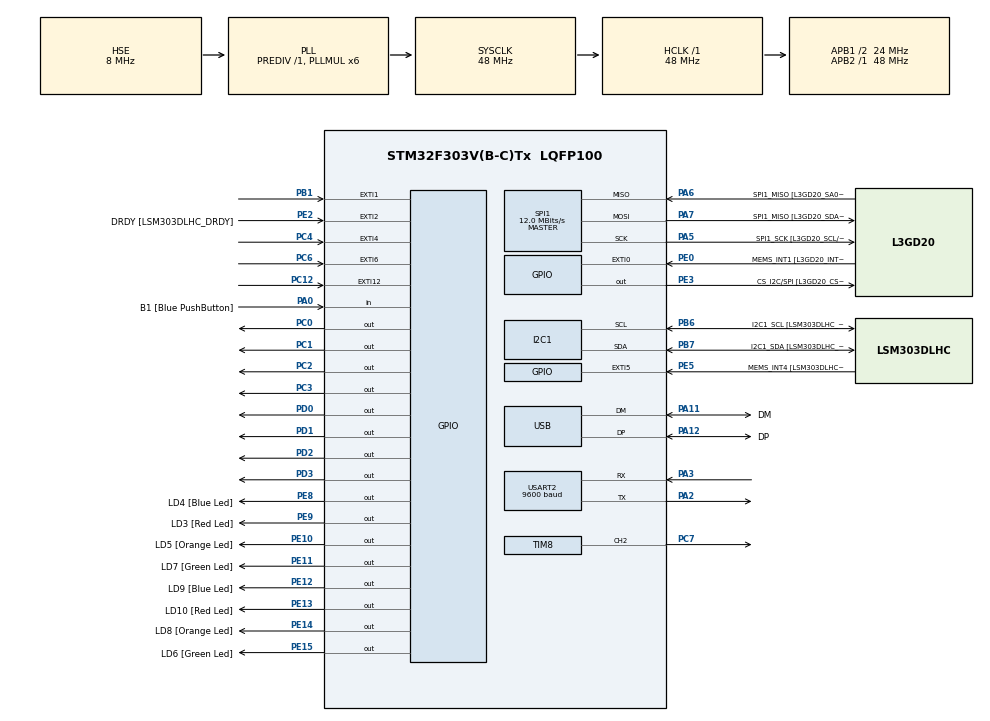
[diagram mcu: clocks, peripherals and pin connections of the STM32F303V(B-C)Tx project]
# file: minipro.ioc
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I2C1.Timing=0x2000090E
I2C1.Timing-I2C=0x2000090E
Mcu.Family=STM32F3
Mcu.Name=STM32F303V(B-C)Tx
Mcu.Package=LQFP100
NVIC.EXTI15_10_IRQn=true\:1\:0\:true\:false\:true\:true\:true
NVIC.EXTI1_IRQn=true\:1\:0\:true\:false\:true\:true\:true
NVIC.EXTI4_IRQn=true\:1\:0\:true\:false\:true\:true\:true
NVIC.EXTI9_5_IRQn=true\:1\:0\:true\:false\:true\:true\:true
NVIC.PriorityGroup=NVIC_PRIORITYGROUP_1
NVIC.TIM2_IRQn=true\:1\:0\:true\:false\:true\:true\:true
NVIC.TIM3_IRQn=true\:1\:0\:true\:false\:true\:true\:true
NVIC.TIM4_IRQn=true\:1\:0\:true\:false\:true\:true\:true
NVIC.USART2_IRQn=true\:1\:0\:true\:false\:true\:true\:true
PA0.GPIO_Label=B1 [Blue PushButton]
PA0.Signal=GPIO_Input
PA11.GPIO_Label=DM
PA11.Mode=Device
PA11.Signal=USB_DM
PA12.GPIO_Label=DP
PA12.Mode=Device
PA12.Signal=USB_DP
PA13.GPIO_Label=SWDIO
PA13.Mode=Serial_Wire
PA13.Signal=SYS_JTMS-SWDIO
PA14.GPIO_Label=SWCLK
PA14.Mode=Serial_Wire
PA14.Signal=SYS_JTCK-SWCLK
PA2.Mode=Asynchronous
PA2.Signal=USART2_TX
PA3.Mode=Asynchronous
PA3.Signal=USART2_RX
PA5.GPIO_Label=SPI1_SCK [L3GD20_SCL/SPC]
PA5.Mode=Full_Duplex_Master
PA5.Signal=SPI1_SCK
PA6.GPIO_Label=SPI1_MISO [L3GD20_SA0/SDO]
PA6.Mode=Full_Duplex_Master
PA6.Signal=SPI1_MISO
PA7.GPIO_Label=SPI1_MISO [L3GD20_SDA/SDI/SDO]
PA7.Mode=Full_Duplex_Master
PA7.Signal=SPI1_MOSI
PB1.GPIO_PuPd=GPIO_PULLDOWN
PB1.Signal=GPXTI1
PB3.GPIO_Label=SWO
PB3.Signal=SYS_JTDO-TRACESWO
PB6.GPIO_Label=I2C1_SCL [LSM303DLHC_SCL]
PB6.GPIO_Pu=GPIO_PULLUP
PB6.Mode=I2C
PB6.Signal=I2C1_SCL
PB7.GPIO_Label=I2C1_SDA [LSM303DLHC_SDA]
PB7.GPIO_Pu=GPIO_PULLUP
PB7.Mode=I2C
PB7.Signal=I2C1_SDA
PC0.Signal=GPIO_Output
PC1.Signal=GPIO_Output
PC12.GPIO_PuPd=GPIO_PULLDOWN
PC12.Signal=GPXTI12
PC14-OSC32_IN.GPIO_Label=OSC32_IN
PC14-OSC32_IN.Signal=RCC_OSC32_IN
PC15-OSC32_OUT.GPIO_Label=OSC32_OUT
PC15-OSC32_OUT.Signal=RCC_OSC32_OUT
PC2.Signal=GPIO_Output
PC3.Signal=GPIO_Output
PC4.GPIO_PuPd=GPIO_PULLDOWN
PC4.Signal=GPXTI4
PC6.GPIO_PuPd=GPIO_PULLDOWN
PC6.Signal=GPXTI6
PC7.Signal=S_TIM8_CH2
PD0.Signal=GPIO_Output
PD1.Signal=GPIO_Output
PD2.Signal=GPIO_Output
PD3.Signal=GPIO_Output
PE0.GPIO_Label=MEMS_INT1 [L3GD20_INT1]
PE0.GPIO_ModeDefaultEXTI=GPIO_MODE_EVT_RISING
PE0.Signal=GPXTI0
PE10.GPIO_Label=LD5 [Orange Led]
PE10.Signal=GPIO_Output
PE11.GPIO_Label=LD7 [Green Led]
PE11.Signal=GPIO_Output
PE12.GPIO_Label=LD9 [Blue Led]
PE12.Signal=GPIO_Output
PE13.GPIO_Label=LD10 [Red Led]
PE13.Signal=GPIO_Output
PE14.GPIO_Label=LD8 [Orange Led]
PE14.Signal=GPIO_Output
PE15.GPIO_Label=LD6 [Green Led]
PE15.Signal=GPIO_Output
PE2.GPIO_Label=DRDY [LSM303DLHC_DRDY]
PE2.GPIO_ModeDefaultEXTI=GPIO_MODE_EVT_RISING
PE2.Signal=GPXTI2
PE3.GPIO_Label=CS_I2C/SPI [L3GD20_CS_I2C/SPI]
PE3.Signal=GPIO_Output
PE5.GPIO_Label=MEMS_INT4 [LSM303DLHC_INT2]
PE5.GPIO_ModeDefaultEXTI=GPIO_MODE_EVT_RISING
PE5.Signal=GPXTI5
PE8.GPIO_Label=LD4 [Blue Led]
PE8.Signal=GPIO_Output
PE9.GPIO_Label=LD3 [Red Led]
PE9.Signal=GPIO_Output
PF0-OSC_IN.GPIO_Label=OSC_IN
PF0-OSC_IN.Mode=HSE-External-Clock-Source
PF0-OSC_IN.Signal=RCC_OSC_IN
PF1-OSC_OUT.GPIO_Label=OSC_OUT
PF1-OSC_OUT.Signal=RCC_OSC_OUT
ProjectManager.HeapSize=0x200
ProjectManager.StackSize=0x400
ProjectManager.TargetToolchain=STM32CubeIDE
RCC.AHBFreq_Value=48000000
RCC.APB1CLKDivider=RCC_HCLK_DIV2
RCC.APB1Freq_Value=24000000
RCC.APB1TimFreq_Value=48000000
RCC.APB2Freq_Value=48000000
RCC.APB2TimFreq_Value=48000000
RCC.CortexFreq_Value=48000000
RCC.HCLKFreq_Value=48000000
RCC.HSE_VALUE=8000000
RCC.HSI_VALUE=8000000
RCC.LSE_VALUE=32768
RCC.PLLMUL=RCC_PLL_MUL6
RCC.SYSCLKFreq_VALUE=48000000
RCC.SYSCLKSourceVirtual=RCC_SYSCLKSOURCE_PLLCLK
RCC.USBFreq_Value=48000000
SH.S_TIM8_CH2.0=TIM8_CH2,PWM Generation2 CH2
SPI1.BaudRatePrescaler=SPI_BAUDRATEPRESCALER_4
SPI1.BaudRatePrescaler-Full_Duplex_Master=SPI_BAUDRATEPRESCALER_2
SPI1.CalculateBaudRate=12.0 MBits/s
SPI1.CalculateBaudRate-Full_Duplex_Master=24.0 MBits/s
SPI1.Direction=SPI_DIRECTION_2LINES
SPI1.Mode=SPI_MODE_MASTER
SPI1.Mode-Full_Duplex_Master=SPI_MODE_MASTER
SPI1.VirtualType=VM_MASTER
TIM2.Period=10000
TIM2.Prescaler=1199
TIM3.Period=1000
TIM3.Prescaler=15
TIM4.Period=10000
TIM4.Prescaler=4799
TIM8.Channel-PWM\ Generation2\ CH2=TIM_CHANNEL_2
USART2.BaudRate=9600
USART2.VirtualMode-Asynchronous=VM_ASYNC
VP_TIM2_VS_ClockSourceINT.Mode=Internal
VP_TIM3_VS_ClockSourceINT.Mode=Internal
VP_TIM4_VS_ClockSourceINT.Mode=Internal
VP_TIM8_VS_ClockSourceINT.Mode=Internal
board=STM32F3DISCOVERY

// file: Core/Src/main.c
/* USER CODE BEGIN Header */
/**
  ******************************************************************************
  * @file           : main.c
  * @brief          : Main program body
  ******************************************************************************
  * @attention
  *
  * <h2><center>&copy; Copyright (c) 2022 STMicroelectronics.
  * All rights reserved.</center></h2>
  *
  * This software component is licensed by ST under BSD 3-Clause license,
  * the "License"; You may not use this file except in compliance with the
  * License. You may obtain a copy of the License at:
  *                        opensource.org/licenses/BSD-3-Clause
  *
  ******************************************************************************
  */
/* USER CODE END Header */
#include "main.h"

/* USER CODE BEGIN Includes */
#include "String.h"
#include <stdio.h>
/* USER CODE END Includes */

/* USER CODE BEGIN PD */
#define SIZE 10
/* USER CODE END PD */

I2C_HandleTypeDef hi2c1;

SPI_HandleTypeDef hspi1;

TIM_HandleTypeDef htim2;
TIM_HandleTypeDef htim3;
TIM_HandleTypeDef htim4;
TIM_HandleTypeDef htim8;

UART_HandleTypeDef huart2;

PCD_HandleTypeDef hpcd_USB_FS;

void SystemClock_Config(void);
static void MX_GPIO_Init(void);
static void MX_I2C1_Init(void);
static void MX_SPI1_Init(void);
static void MX_USB_PCD_Init(void);
static void MX_TIM3_Init(void);
static void MX_TIM4_Init(void);
static void MX_TIM8_Init(void);
static void MX_TIM2_Init(void);
static void MX_USART2_UART_Init(void);

/* USER CODE BEGIN 0 */

int x1=0,x4=0;

int sevenseg_counter = 0;
int uart_counter = 0;
unsigned char counter[1];
char counter1[50];
char counter2[3];
int counter_flag = 0 , sw1 = 0 , isEmpty = 1 ;
int last_interrupt1=0;
char hello[7] = "hello \n";
int delay = 0;
int buzzer_flag = 0;

int max_floor = 9;
int current_floor = 0;
int selected_floor = 0;
int goto_floor = 0;
int last_floor = 0;

int items[SIZE], front = -1, rear = -1;

unsigned char data[20];

char admin_cmd[] = "ADMIN#";
char pass[] = "1234";
int admin_mode = 0;

char max_level_cmd[] = "SET MAX LEVEL";
char level_cmd[] = "SET LEVEL";
char wait_cmd[] = "SET WAIT";
char led_cmd[] = "SET LED";
char start_cmd[] = "START";
char test_cmd[]= "TEST#";

int led_condition = 0;

char message[50] = "";

int waiting_time = 500;

TIM_HandleTypeDef *pwm_timer = &htim8; // Point to PWM timer configured in CubeMX
uint32_t pwm_channel = TIM_CHANNEL_2;  // Specify configured PWM channel

void write_num_toBCD(int a) {
	if (a & 1) {
		HAL_GPIO_WritePin(GPIOD, GPIO_PIN_0, GPIO_PIN_SET);
	} else {
		HAL_GPIO_WritePin(GPIOD, GPIO_PIN_0, GPIO_PIN_RESET);
	}
	if (a & 2) {
		HAL_GPIO_WritePin(GPIOD, GPIO_PIN_1, GPIO_PIN_SET);
	} else {
		HAL_GPIO_WritePin(GPIOD, GPIO_PIN_1, GPIO_PIN_RESET);
	}
	if (a & 4) {
		HAL_GPIO_WritePin(GPIOD, GPIO_PIN_2, GPIO_PIN_SET);
	} else {
		HAL_GPIO_WritePin(GPIOD, GPIO_PIN_2, GPIO_PIN_RESET);
	}
	if (a & 8) {
		HAL_GPIO_WritePin(GPIOD, GPIO_PIN_3, GPIO_PIN_SET);
	} else {
		HAL_GPIO_WritePin(GPIOD, GPIO_PIN_3, GPIO_PIN_RESET);
	}
}

void turn_off_all() {
	HAL_GPIO_WritePin(GPIOC, GPIO_PIN_0 | GPIO_PIN_1 | GPIO_PIN_2 | GPIO_PIN_3,
			0);

}

void turn_on_led(){
	HAL_GPIO_WritePin(GPIOE, GPIO_PIN_8 , 1);
	HAL_GPIO_WritePin(GPIOE, GPIO_PIN_9 , 1);
	HAL_GPIO_WritePin(GPIOE, GPIO_PIN_10 , 1);
	HAL_GPIO_WritePin(GPIOE, GPIO_PIN_11 , 1);
	HAL_GPIO_WritePin(GPIOE, GPIO_PIN_12 , 1);
	HAL_GPIO_WritePin(GPIOE, GPIO_PIN_13 , 1);
	HAL_GPIO_WritePin(GPIOE, GPIO_PIN_14 , 1);
	HAL_GPIO_WritePin(GPIOE, GPIO_PIN_15 , 1);
}

void turn_off_led(){
	HAL_GPIO_WritePin(GPIOE, GPIO_PIN_8 , 0);
	HAL_GPIO_WritePin(GPIOE, GPIO_PIN_9 , 0);
	HAL_GPIO_WritePin(GPIOE, GPIO_PIN_10 , 0);
	HAL_GPIO_WritePin(GPIOE, GPIO_PIN_11 , 0);
	HAL_GPIO_WritePin(GPIOE, GPIO_PIN_12 , 0);
	HAL_GPIO_WritePin(GPIOE, GPIO_PIN_13 , 0);
	HAL_GPIO_WritePin(GPIOE, GPIO_PIN_14 , 0);
	HAL_GPIO_WritePin(GPIOE, GPIO_PIN_15 , 0);
}

/////////////////////////// queue ///////////////////////

void enQueue(int value) {
  if (rear == SIZE - 1)
    printf("\nQueue is Full!!");
  else {
    if (front == -1)
      front = 0;
    rear++;
    items[rear] = value;
    isEmpty = 0;
  }
}

void deQueue() {
  if (front == -1){
	isEmpty = 1;
  }
  else {
    goto_floor = items[front];
    front++;
    if (front > rear){
      front = rear = -1;
    }
  }
}

void peek() {
  if (front == -1){
	isEmpty = 1;
  }
  else {
    last_floor = items[rear];
  }
}

/////////////////////////////// buzzer /////////////////////////////////////////////////

void PWM_Start()
{
  HAL_TIM_PWM_Start(pwm_timer, pwm_channel);
}

void PWM_Change_Tone(uint16_t pwm_freq, uint16_t volume) // pwm_freq (1 - 20000), volume (0 - 1000)
{
  if (pwm_freq == 0 || pwm_freq > 20000)
  {
    __HAL_TIM_SET_COMPARE(pwm_timer, pwm_channel, 0);
  }
  else
  {
    const uint32_t internal_clock_freq = HAL_RCC_GetSysClockFreq();
	const uint16_t prescaler = 1 + internal_clock_freq / pwm_freq / 60000;
    const uint32_t timer_clock = internal_clock_freq / prescaler;
    const uint32_t period_cycles = timer_clock / pwm_freq;
    const uint32_t pulse_width = volume * period_cycles / 1000 / 2;

    pwm_timer->Instance->PSC = prescaler - 1;
    pwm_timer->Instance->ARR = period_cycles - 1;
    pwm_timer->Instance->EGR = TIM_EGR_UG;
    __HAL_TIM_SET_COMPARE(pwm_timer, pwm_channel, pulse_width); // pwm_timer->Instance->CCR2 = pulse_width;
  }
}

////////////////////////////////////////////////
void HAL_GPIO_EXTI_Callback(uint16_t GPIO_Pin){

		if (GPIO_Pin == GPIO_PIN_4 && last_interrupt1 + 200 < HAL_GetTick()){
			last_interrupt1 = HAL_GetTick();

			if (selected_floor  < max_floor) {
				selected_floor++;
			}

		}
		else if (GPIO_Pin == GPIO_PIN_6 && last_interrupt1 + 200 < HAL_GetTick()){
			last_interrupt1 = HAL_GetTick();

			if (selected_floor  > 0) {
				selected_floor --;
			}

		}
		else if (GPIO_Pin == GPIO_PIN_12 && last_interrupt1 + 200 < HAL_GetTick()){
			last_interrupt1 = HAL_GetTick();
			peek();
			if(last_floor != selected_floor && selected_floor != current_floor){
			enQueue(selected_floor);
			HAL_GPIO_TogglePin(GPIOE, GPIO_PIN_9);
			}

		}
		else if (GPIO_Pin == GPIO_PIN_1 && last_interrupt1 + 200 < HAL_GetTick()){
			last_interrupt1 = HAL_GetTick();
			HAL_GPIO_TogglePin(GPIOE, GPIO_PIN_8);
			PWM_Start();
			sw1 = 1;
			if(led_condition){
				turn_on_led();
			}
			else{
				turn_off_led();
			}
		}

	}

////////////////////////////////////////////////////////////////

void HAL_TIM_PeriodElapsedCallback(TIM_HandleTypeDef *htim)
{
    if (htim->Instance == TIM3)
    {
    	switch (delay%4) {
			case 0:
				turn_off_all();
				HAL_GPIO_WritePin(GPIOC, GPIO_PIN_0, 1);
				write_num_toBCD(selected_floor);
				break;
			case 1:
				turn_off_all();
				HAL_GPIO_WritePin(GPIOC, GPIO_PIN_1, 0);
				write_num_toBCD(0);
				break;
			case 2:
				turn_off_all();
				HAL_GPIO_WritePin(GPIOC, GPIO_PIN_2, 0);
				write_num_toBCD(0);
				break;
			case 3:
				turn_off_all();
				HAL_GPIO_WritePin(GPIOC, GPIO_PIN_3, 1);
				write_num_toBCD(current_floor);
				break;

		}
				delay++;

    }

    if (htim->Instance == TIM4)
    {

    	if (goto_floor == current_floor && !isEmpty && !admin_mode ){
    		HAL_GPIO_TogglePin(GPIOE, GPIO_PIN_10);
    		HAL_Delay(waiting_time);
    		deQueue();
    		counter_flag = 1;
    	}

    	if(isEmpty){
    		counter_flag = 0;
    	}

    	if (counter_flag){
//    		deQueue();

    		if(goto_floor > current_floor ){
    			current_floor++;
    		}
    		else if(goto_floor < current_floor){
    			current_floor--;
    		}

    	}

    }

    if (htim->Instance == TIM2)
        {
    	if(sw1){
    		if(buzzer_flag % 2 == 0){
    			PWM_Change_Tone(300, 50);
    		}else{
    			PWM_Change_Tone(300, 0);
    		}
    		buzzer_flag++;
    	}
       }
}

/////////////////////////////////////////////////////////////////////////////////////////
void set_max_level(int max){
	if(max > 9){
		char incorrect_pass_msg[41] = "\nNumber of levels should be less than 10\n" ;
		HAL_UART_Transmit(&huart2, &incorrect_pass_msg, sizeof(incorrect_pass_msg),1000);
	}else{
		max_floor = max;
	}
	current_floor = 0;
}

void set_level(int level){
	if(level >= 0 && level <= max_floor){
		current_floor = level;
		goto_floor = level;
	} else{
		if(level < 0){
			char incorrect_pass_msg[44] = "\nNumber of current level should be positive\n" ;
			HAL_UART_Transmit(&huart2, &incorrect_pass_msg, sizeof(incorrect_pass_msg),1000);
		} else{
			char incorrect_pass_msg[68] = "\nNumber of current level should be less than total number of levels\n" ;
			HAL_UART_Transmit(&huart2, &incorrect_pass_msg, sizeof(incorrect_pass_msg),1000);
		}
	}
}

void set_led(char condition[]){
	char on[] = "ON";
	char off[] = "OFF";
	if(strstr(condition , on)){
		led_condition = 1;
		HAL_GPIO_TogglePin(GPIOE, GPIO_PIN_9);
	}
	else if (strstr(condition , off)){
		led_condition = 0;
		HAL_GPIO_TogglePin(GPIOE, GPIO_PIN_10);
	}
	else{
		char incorrect_pass_msg[16] = "\nwrong command!\n" ;
		HAL_UART_Transmit(&huart2, &incorrect_pass_msg, sizeof(incorrect_pass_msg),1000);
	}
}

void set_wait(int wait){
	if (wait >= 500 && wait <= 5000 && (wait % 100 == 0)){
		waiting_time = wait;
	} else{
		if(wait % 100 != 0){
			char incorrect_pass_msg[41] = "\nWaiting time should be dividable by 100\n" ;
			HAL_UART_Transmit(&huart2, &incorrect_pass_msg, sizeof(incorrect_pass_msg),1000);
		} else if (wait < 500){
			char incorrect_pass_msg[38] = "\nWaiting time should be more than 500\n" ;
			HAL_UART_Transmit(&huart2, &incorrect_pass_msg, sizeof(incorrect_pass_msg),1000);
		} else if(wait > 5000){
			char incorrect_pass_msg[39] = "\nWaiting time should be less than 5000\n" ;
			HAL_UART_Transmit(&huart2, &incorrect_pass_msg, sizeof(incorrect_pass_msg),1000);
		}
	}
}

char y[5];
int r = 5 , i = 8 , j = 0;
int num = 0;
int numbers[4];
int count = 0;

void HAL_UART_RxCpltCallback(UART_HandleTypeDef *huart){

		if(huart->Instance == USART2){
			if(strstr(data , admin_cmd) && isEmpty){
				  HAL_UART_Transmit(&huart2, hello, sizeof(hello) , 1000);
				if(data[6] == pass[0] && data[7] == pass[1] && data[8] == pass[2] && data[9] == pass[3]){
					  HAL_UART_Transmit(&huart2, hello, sizeof(hello) , 1000);
					  HAL_GPIO_TogglePin(GPIOE, GPIO_PIN_8);
					  admin_mode = 1;
				}
				else{
					char incorrect_pass_msg[24] = "\nPassword is Incorrect!\n" ;
					HAL_UART_Transmit(&huart2, &incorrect_pass_msg, sizeof(incorrect_pass_msg),1000);
				}
			}

			if(admin_mode){
				if(strstr(data , max_level_cmd)){
					HAL_GPIO_TogglePin(GPIOE, GPIO_PIN_10);
					set_max_level(data[13]-48);
					char x = max_floor + 48;
					HAL_UART_Transmit(&huart2, &x, sizeof(x) , 1000);
				}
				else if(strstr(data , level_cmd)){
					set_level(data[9]-48);
					char x = current_floor + 48;
					HAL_UART_Transmit(&huart2, &x, sizeof(x) , 1000);
				}
				else if(strstr(data , wait_cmd)){
					while((data[i] != ' ') && i < 12 && j< 4){
						numbers[j] = (data[i]-48);
						HAL_UART_Transmit(&huart2, &data[i], 1 , 1000);
						i++;
						j++;
					}
					if(j == 3){
						HAL_GPIO_TogglePin(GPIOE, GPIO_PIN_11);
						count = (numbers[0]*100) + (numbers[1]*10) + (numbers[2]);
					}else if(j==4){
						HAL_GPIO_TogglePin(GPIOE, GPIO_PIN_12);
						count = (numbers[0]*1000) + (numbers[1]*100) + (numbers[2]*10) + numbers[3];
					}
					HAL_UART_Transmit(&huart2, &j, sizeof(j) , 1000);
					set_wait(count);
				}
				else if(strstr(data , led_cmd)){
					strncpy(y , data+7 , 3);
					HAL_UART_Transmit(&huart2, y, 3 , 1000);
					set_led(y);
				}
				else if(strstr(data , test_cmd)){
					while((data[r] != ' ') && r < 10){
						num = data[r]-48;
						enQueue(num);
						HAL_UART_Transmit(&huart2, &data[r], 1 , 1000);
						r++;
					}
				}
				else if(strstr(data , start_cmd)){
					admin_mode = 0;
					HAL_GPIO_TogglePin(GPIOE, GPIO_PIN_9);
					if(!isEmpty && goto_floor+1 != current_floor){
						HAL_GPIO_TogglePin(GPIOE, GPIO_PIN_12);
						deQueue();
						counter_flag = 1;
					}
				}
//				else{
//					char incorrect_pass_msg[16] = "\nwrong command!\n" ;
//					HAL_UART_Transmit(&huart2, &incorrect_pass_msg, sizeof(incorrect_pass_msg),1000);
//				}
			}

		}

			HAL_UART_Receive_IT(&huart2,data,20);

}

/* USER CODE END 0 */

int main(void)
{

  /* MCU Configuration--------------------------------------------------------*/

  /* Reset of all peripherals, Initializes the Flash interface and the Systick. */
  HAL_Init();

  /* Configure the system clock */
  SystemClock_Config();

  /* Initialize all configured peripherals */
  MX_GPIO_Init();
  MX_I2C1_Init();
  MX_SPI1_Init();
  MX_USB_PCD_Init();
  MX_TIM3_Init();
  MX_TIM4_Init();
  MX_TIM8_Init();
  MX_TIM2_Init();
  MX_USART2_UART_Init();
  /* USER CODE BEGIN 2 */
  HAL_TIM_Base_Start_IT(&htim3);
  HAL_TIM_Base_Start_IT(&htim4);
  HAL_TIM_Base_Start_IT(&htim2);
  HAL_UART_Receive_IT(&huart2,data,20);
  HAL_UART_Transmit(&huart2, hello, sizeof(hello) , 1000);
  /* USER CODE END 2 */

  /* Infinite loop */
  while (1)
  {

  }
}

void SystemClock_Config(void)
{
  RCC_OscInitTypeDef RCC_OscInitStruct = {0};
  RCC_ClkInitTypeDef RCC_ClkInitStruct = {0};
  RCC_PeriphCLKInitTypeDef PeriphClkInit = {0};

  /** Initializes the RCC Oscillators according to the specified parameters
  * in the RCC_OscInitTypeDef structure.
  */
  RCC_OscInitStruct.OscillatorType = RCC_OSCILLATORTYPE_HSI|RCC_OSCILLATORTYPE_HSE;
  RCC_OscInitStruct.HSEState = RCC_HSE_BYPASS;
  RCC_OscInitStruct.HSEPredivValue = RCC_HSE_PREDIV_DIV1;
  RCC_OscInitStruct.HSIState = RCC_HSI_ON;
  RCC_OscInitStruct.HSICalibrationValue = RCC_HSICALIBRATION_DEFAULT;
  RCC_OscInitStruct.PLL.PLLState = RCC_PLL_ON;
  RCC_OscInitStruct.PLL.PLLSource = RCC_PLLSOURCE_HSE;
  RCC_OscInitStruct.PLL.PLLMUL = RCC_PLL_MUL6;
  if (HAL_RCC_OscConfig(&RCC_OscInitStruct) != HAL_OK)
  {
    Error_Handler();
  }
  /** Initializes the CPU, AHB and APB buses clocks
  */
  RCC_ClkInitStruct.ClockType = RCC_CLOCKTYPE_HCLK|RCC_CLOCKTYPE_SYSCLK
                              |RCC_CLOCKTYPE_PCLK1|RCC_CLOCKTYPE_PCLK2;
  RCC_ClkInitStruct.SYSCLKSource = RCC_SYSCLKSOURCE_PLLCLK;
  RCC_ClkInitStruct.AHBCLKDivider = RCC_SYSCLK_DIV1;
  RCC_ClkInitStruct.APB1CLKDivider = RCC_HCLK_DIV2;
  RCC_ClkInitStruct.APB2CLKDivider = RCC_HCLK_DIV1;

  if (HAL_RCC_ClockConfig(&RCC_ClkInitStruct, FLASH_LATENCY_1) != HAL_OK)
  {
    Error_Handler();
  }
  PeriphClkInit.PeriphClockSelection = RCC_PERIPHCLK_USB|RCC_PERIPHCLK_USART2
                              |RCC_PERIPHCLK_I2C1|RCC_PERIPHCLK_TIM8;
  PeriphClkInit.Usart2ClockSelection = RCC_USART2CLKSOURCE_PCLK1;
  PeriphClkInit.I2c1ClockSelection = RCC_I2C1CLKSOURCE_HSI;
  PeriphClkInit.USBClockSelection = RCC_USBCLKSOURCE_PLL;
  PeriphClkInit.Tim8ClockSelection = RCC_TIM8CLK_HCLK;
  if (HAL_RCCEx_PeriphCLKConfig(&PeriphClkInit) != HAL_OK)
  {
    Error_Handler();
  }
}

static void MX_I2C1_Init(void)
{

  hi2c1.Instance = I2C1;
  hi2c1.Init.Timing = 0x2000090E;
  hi2c1.Init.OwnAddress1 = 0;
  hi2c1.Init.AddressingMode = I2C_ADDRESSINGMODE_7BIT;
  hi2c1.Init.DualAddressMode = I2C_DUALADDRESS_DISABLE;
  hi2c1.Init.OwnAddress2 = 0;
  hi2c1.Init.OwnAddress2Masks = I2C_OA2_NOMASK;
  hi2c1.Init.GeneralCallMode = I2C_GENERALCALL_DISABLE;
  hi2c1.Init.NoStretchMode = I2C_NOSTRETCH_DISABLE;
  if (HAL_I2C_Init(&hi2c1) != HAL_OK)
  {
    Error_Handler();
  }
  /** Configure Analogue filter
  */
  if (HAL_I2CEx_ConfigAnalogFilter(&hi2c1, I2C_ANALOGFILTER_ENABLE) != HAL_OK)
  {
    Error_Handler();
  }
  /** Configure Digital filter
  */
  if (HAL_I2CEx_ConfigDigitalFilter(&hi2c1, 0) != HAL_OK)
  {
    Error_Handler();
  }

}

static void MX_SPI1_Init(void)
{

  /* SPI1 parameter configuration*/
  hspi1.Instance = SPI1;
  hspi1.Init.Mode = SPI_MODE_MASTER;
  hspi1.Init.Direction = SPI_DIRECTION_2LINES;
  hspi1.Init.DataSize = SPI_DATASIZE_4BIT;
  hspi1.Init.CLKPolarity = SPI_POLARITY_LOW;
  hspi1.Init.CLKPhase = SPI_PHASE_1EDGE;
  hspi1.Init.NSS = SPI_NSS_SOFT;
  hspi1.Init.BaudRatePrescaler = SPI_BAUDRATEPRESCALER_4;
  hspi1.Init.FirstBit = SPI_FIRSTBIT_MSB;
  hspi1.Init.TIMode = SPI_TIMODE_DISABLE;
  hspi1.Init.CRCCalculation = SPI_CRCCALCULATION_DISABLE;
  hspi1.Init.CRCPolynomial = 7;
  hspi1.Init.CRCLength = SPI_CRC_LENGTH_DATASIZE;
  hspi1.Init.NSSPMode = SPI_NSS_PULSE_ENABLE;
  if (HAL_SPI_Init(&hspi1) != HAL_OK)
  {
    Error_Handler();
  }

}

static void MX_TIM2_Init(void)
{

  TIM_ClockConfigTypeDef sClockSourceConfig = {0};
  TIM_MasterConfigTypeDef sMasterConfig = {0};

  htim2.Instance = TIM2;
  htim2.Init.Prescaler = 1199;
  htim2.Init.CounterMode = TIM_COUNTERMODE_UP;
  htim2.Init.Period = 10000;
  htim2.Init.ClockDivision = TIM_CLOCKDIVISION_DIV1;
  htim2.Init.AutoReloadPreload = TIM_AUTORELOAD_PRELOAD_DISABLE;
  if (HAL_TIM_Base_Init(&htim2) != HAL_OK)
  {
    Error_Handler();
  }
  sClockSourceConfig.ClockSource = TIM_CLOCKSOURCE_INTERNAL;
  if (HAL_TIM_ConfigClockSource(&htim2, &sClockSourceConfig) != HAL_OK)
  {
    Error_Handler();
  }
  sMasterConfig.MasterOutputTrigger = TIM_TRGO_RESET;
  sMasterConfig.MasterSlaveMode = TIM_MASTERSLAVEMODE_DISABLE;
  if (HAL_TIMEx_MasterConfigSynchronization(&htim2, &sMasterConfig) != HAL_OK)
  {
    Error_Handler();
  }

}

static void MX_TIM3_Init(void)
{

  TIM_ClockConfigTypeDef sClockSourceConfig = {0};
  TIM_MasterConfigTypeDef sMasterConfig = {0};

  htim3.Instance = TIM3;
  htim3.Init.Prescaler = 15;
  htim3.Init.CounterMode = TIM_COUNTERMODE_UP;
  htim3.Init.Period = 1000;
  htim3.Init.ClockDivision = TIM_CLOCKDIVISION_DIV1;
  htim3.Init.AutoReloadPreload = TIM_AUTORELOAD_PRELOAD_DISABLE;
  if (HAL_TIM_Base_Init(&htim3) != HAL_OK)
  {
    Error_Handler();
  }
  sClockSourceConfig.ClockSource = TIM_CLOCKSOURCE_INTERNAL;
  if (HAL_TIM_ConfigClockSource(&htim3, &sClockSourceConfig) != HAL_OK)
  {
    Error_Handler();
  }
  sMasterConfig.MasterOutputTrigger = TIM_TRGO_RESET;
  sMasterConfig.MasterSlaveMode = TIM_MASTERSLAVEMODE_DISABLE;
  if (HAL_TIMEx_MasterConfigSynchronization(&htim3, &sMasterConfig) != HAL_OK)
  {
    Error_Handler();
  }

}

static void MX_TIM4_Init(void)
{

  TIM_ClockConfigTypeDef sClockSourceConfig = {0};
  TIM_MasterConfigTypeDef sMasterConfig = {0};

  htim4.Instance = TIM4;
  htim4.Init.Prescaler = 4799;
  htim4.Init.CounterMode = TIM_COUNTERMODE_UP;
  htim4.Init.Period = 10000;
  htim4.Init.ClockDivision = TIM_CLOCKDIVISION_DIV1;
  htim4.Init.AutoReloadPreload = TIM_AUTORELOAD_PRELOAD_DISABLE;
  if (HAL_TIM_Base_Init(&htim4) != HAL_OK)
  {
    Error_Handler();
  }
  sClockSourceConfig.ClockSource = TIM_CLOCKSOURCE_INTERNAL;
  if (HAL_TIM_ConfigClockSource(&htim4, &sClockSourceConfig) != HAL_OK)
  {
    Error_Handler();
  }
  sMasterConfig.MasterOutputTrigger = TIM_TRGO_RESET;
  sMasterConfig.MasterSlaveMode = TIM_MASTERSLAVEMODE_DISABLE;
  if (HAL_TIMEx_MasterConfigSynchronization(&htim4, &sMasterConfig) != HAL_OK)
  {
    Error_Handler();
  }

}

static void MX_TIM8_Init(void)
{

  TIM_ClockConfigTypeDef sClockSourceConfig = {0};
  TIM_MasterConfigTypeDef sMasterConfig = {0};
  TIM_OC_InitTypeDef sConfigOC = {0};
  TIM_BreakDeadTimeConfigTypeDef sBreakDeadTimeConfig = {0};

  htim8.Instance = TIM8;
  htim8.Init.Prescaler = 0;
  htim8.Init.CounterMode = TIM_COUNTERMODE_UP;
  htim8.Init.Period = 65535;
  htim8.Init.ClockDivision = TIM_CLOCKDIVISION_DIV1;
  htim8.Init.RepetitionCounter = 0;
  htim8.Init.AutoReloadPreload = TIM_AUTORELOAD_PRELOAD_DISABLE;
  if (HAL_TIM_Base_Init(&htim8) != HAL_OK)
  {
    Error_Handler();
  }
  sClockSourceConfig.ClockSource = TIM_CLOCKSOURCE_INTERNAL;
  if (HAL_TIM_ConfigClockSource(&htim8, &sClockSourceConfig) != HAL_OK)
  {
    Error_Handler();
  }
  if (HAL_TIM_PWM_Init(&htim8) != HAL_OK)
  {
    Error_Handler();
  }
  sMasterConfig.MasterOutputTrigger = TIM_TRGO_RESET;
  sMasterConfig.MasterOutputTrigger2 = TIM_TRGO2_RESET;
  sMasterConfig.MasterSlaveMode = TIM_MASTERSLAVEMODE_DISABLE;
  if (HAL_TIMEx_MasterConfigSynchronization(&htim8, &sMasterConfig) != HAL_OK)
  {
    Error_Handler();
  }
  sConfigOC.OCMode = TIM_OCMODE_PWM1;
  sConfigOC.Pulse = 0;
  sConfigOC.OCPolarity = TIM_OCPOLARITY_HIGH;
  sConfigOC.OCNPolarity = TIM_OCNPOLARITY_HIGH;
  sConfigOC.OCFastMode = TIM_OCFAST_DISABLE;
  sConfigOC.OCIdleState = TIM_OCIDLESTATE_RESET;
  sConfigOC.OCNIdleState = TIM_OCNIDLESTATE_RESET;
  if (HAL_TIM_PWM_ConfigChannel(&htim8, &sConfigOC, TIM_CHANNEL_2) != HAL_OK)
  {
    Error_Handler();
  }
  sBreakDeadTimeConfig.OffStateRunMode = TIM_OSSR_DISABLE;
  sBreakDeadTimeConfig.OffStateIDLEMode = TIM_OSSI_DISABLE;
  sBreakDeadTimeConfig.LockLevel = TIM_LOCKLEVEL_OFF;
  sBreakDeadTimeConfig.DeadTime = 0;
  sBreakDeadTimeConfig.BreakState = TIM_BREAK_DISABLE;
  sBreakDeadTimeConfig.BreakPolarity = TIM_BREAKPOLARITY_HIGH;
  sBreakDeadTimeConfig.BreakFilter = 0;
  sBreakDeadTimeConfig.Break2State = TIM_BREAK2_DISABLE;
  sBreakDeadTimeConfig.Break2Polarity = TIM_BREAK2POLARITY_HIGH;
  sBreakDeadTimeConfig.Break2Filter = 0;
  sBreakDeadTimeConfig.AutomaticOutput = TIM_AUTOMATICOUTPUT_DISABLE;
  if (HAL_TIMEx_ConfigBreakDeadTime(&htim8, &sBreakDeadTimeConfig) != HAL_OK)
  {
    Error_Handler();
  }
  HAL_TIM_MspPostInit(&htim8);

}

static void MX_USART2_UART_Init(void)
{

  huart2.Instance = USART2;
  huart2.Init.BaudRate = 9600;
  huart2.Init.WordLength = UART_WORDLENGTH_8B;
  huart2.Init.StopBits = UART_STOPBITS_1;
  huart2.Init.Parity = UART_PARITY_NONE;
  huart2.Init.Mode = UART_MODE_TX_RX;
  huart2.Init.HwFlowCtl = UART_HWCONTROL_NONE;
  huart2.Init.OverSampling = UART_OVERSAMPLING_16;
  huart2.Init.OneBitSampling = UART_ONE_BIT_SAMPLE_DISABLE;
  huart2.AdvancedInit.AdvFeatureInit = UART_ADVFEATURE_NO_INIT;
  if (HAL_UART_Init(&huart2) != HAL_OK)
  {
    Error_Handler();
  }

}

static void MX_USB_PCD_Init(void)
{

  hpcd_USB_FS.Instance = USB;
  hpcd_USB_FS.Init.dev_endpoints = 8;
  hpcd_USB_FS.Init.speed = PCD_SPEED_FULL;
  hpcd_USB_FS.Init.phy_itface = PCD_PHY_EMBEDDED;
  hpcd_USB_FS.Init.low_power_enable = DISABLE;
  hpcd_USB_FS.Init.battery_charging_enable = DISABLE;
  if (HAL_PCD_Init(&hpcd_USB_FS) != HAL_OK)
  {
    Error_Handler();
  }

}

static void MX_GPIO_Init(void)
{
  GPIO_InitTypeDef GPIO_InitStruct = {0};

  /* GPIO Ports Clock Enable */
  __HAL_RCC_GPIOE_CLK_ENABLE();
  __HAL_RCC_GPIOC_CLK_ENABLE();
  __HAL_RCC_GPIOF_CLK_ENABLE();
  __HAL_RCC_GPIOA_CLK_ENABLE();
  __HAL_RCC_GPIOB_CLK_ENABLE();
  __HAL_RCC_GPIOD_CLK_ENABLE();

  /*Configure GPIO pin Output Level */
  HAL_GPIO_WritePin(GPIOE, CS_I2C_SPI_Pin|LD4_Pin|LD3_Pin|LD5_Pin
                          |LD7_Pin|LD9_Pin|LD10_Pin|LD8_Pin
                          |LD6_Pin, GPIO_PIN_RESET);

  /*Configure GPIO pin Output Level */
  HAL_GPIO_WritePin(GPIOC, GPIO_PIN_0|GPIO_PIN_1|GPIO_PIN_2|GPIO_PIN_3, GPIO_PIN_RESET);

  /*Configure GPIO pin Output Level */
  HAL_GPIO_WritePin(GPIOD, GPIO_PIN_0|GPIO_PIN_1|GPIO_PIN_2|GPIO_PIN_3, GPIO_PIN_RESET);

  /*Configure GPIO pins : DRDY_Pin MEMS_INT4_Pin MEMS_INT1_Pin */
  GPIO_InitStruct.Pin = DRDY_Pin|MEMS_INT4_Pin|MEMS_INT1_Pin;
  GPIO_InitStruct.Mode = GPIO_MODE_EVT_RISING;
  GPIO_InitStruct.Pull = GPIO_NOPULL;
  HAL_GPIO_Init(GPIOE, &GPIO_InitStruct);

  /*Configure GPIO pins : CS_I2C_SPI_Pin LD4_Pin LD3_Pin LD5_Pin
                           LD7_Pin LD9_Pin LD10_Pin LD8_Pin
                           LD6_Pin */
  GPIO_InitStruct.Pin = CS_I2C_SPI_Pin|LD4_Pin|LD3_Pin|LD5_Pin
                          |LD7_Pin|LD9_Pin|LD10_Pin|LD8_Pin
                          |LD6_Pin;
  GPIO_InitStruct.Mode = GPIO_MODE_OUTPUT_PP;
  GPIO_InitStruct.Pull = GPIO_NOPULL;
  GPIO_InitStruct.Speed = GPIO_SPEED_FREQ_LOW;
  HAL_GPIO_Init(GPIOE, &GPIO_InitStruct);

  /*Configure GPIO pins : PC0 PC1 PC2 PC3 */
  GPIO_InitStruct.Pin = GPIO_PIN_0|GPIO_PIN_1|GPIO_PIN_2|GPIO_PIN_3;
  GPIO_InitStruct.Mode = GPIO_MODE_OUTPUT_PP;
  GPIO_InitStruct.Pull = GPIO_NOPULL;
  GPIO_InitStruct.Speed = GPIO_SPEED_FREQ_LOW;
  HAL_GPIO_Init(GPIOC, &GPIO_InitStruct);

  /*Configure GPIO pin : B1_Pin */
  GPIO_InitStruct.Pin = B1_Pin;
  GPIO_InitStruct.Mode = GPIO_MODE_INPUT;
  GPIO_InitStruct.Pull = GPIO_NOPULL;
  HAL_GPIO_Init(B1_GPIO_Port, &GPIO_InitStruct);

  /*Configure GPIO pins : PC4 PC6 PC12 */
  GPIO_InitStruct.Pin = GPIO_PIN_4|GPIO_PIN_6|GPIO_PIN_12;
  GPIO_InitStruct.Mode = GPIO_MODE_IT_RISING;
  GPIO_InitStruct.Pull = GPIO_PULLDOWN;
  HAL_GPIO_Init(GPIOC, &GPIO_InitStruct);

  /*Configure GPIO pin : PB1 */
  GPIO_InitStruct.Pin = GPIO_PIN_1;
  GPIO_InitStruct.Mode = GPIO_MODE_IT_RISING;
  GPIO_InitStruct.Pull = GPIO_PULLDOWN;
  HAL_GPIO_Init(GPIOB, &GPIO_InitStruct);

  /*Configure GPIO pins : PD0 PD1 PD2 PD3 */
  GPIO_InitStruct.Pin = GPIO_PIN_0|GPIO_PIN_1|GPIO_PIN_2|GPIO_PIN_3;
  GPIO_InitStruct.Mode = GPIO_MODE_OUTPUT_PP;
  GPIO_InitStruct.Pull = GPIO_NOPULL;
  GPIO_InitStruct.Speed = GPIO_SPEED_FREQ_LOW;
  HAL_GPIO_Init(GPIOD, &GPIO_InitStruct);

  /* EXTI interrupt init*/
  HAL_NVIC_SetPriority(EXTI1_IRQn, 1, 0);
  HAL_NVIC_EnableIRQ(EXTI1_IRQn);

  HAL_NVIC_SetPriority(EXTI4_IRQn, 1, 0);
  HAL_NVIC_EnableIRQ(EXTI4_IRQn);

  HAL_NVIC_SetPriority(EXTI9_5_IRQn, 1, 0);
  HAL_NVIC_EnableIRQ(EXTI9_5_IRQn);

  HAL_NVIC_SetPriority(EXTI15_10_IRQn, 1, 0);
  HAL_NVIC_EnableIRQ(EXTI15_10_IRQn);

}

void Error_Handler(void)
{
  __disable_irq();
  while (1)
  {
  }
}

/************************ (C) COPYRIGHT STMicroelectronics *****END OF FILE****/
